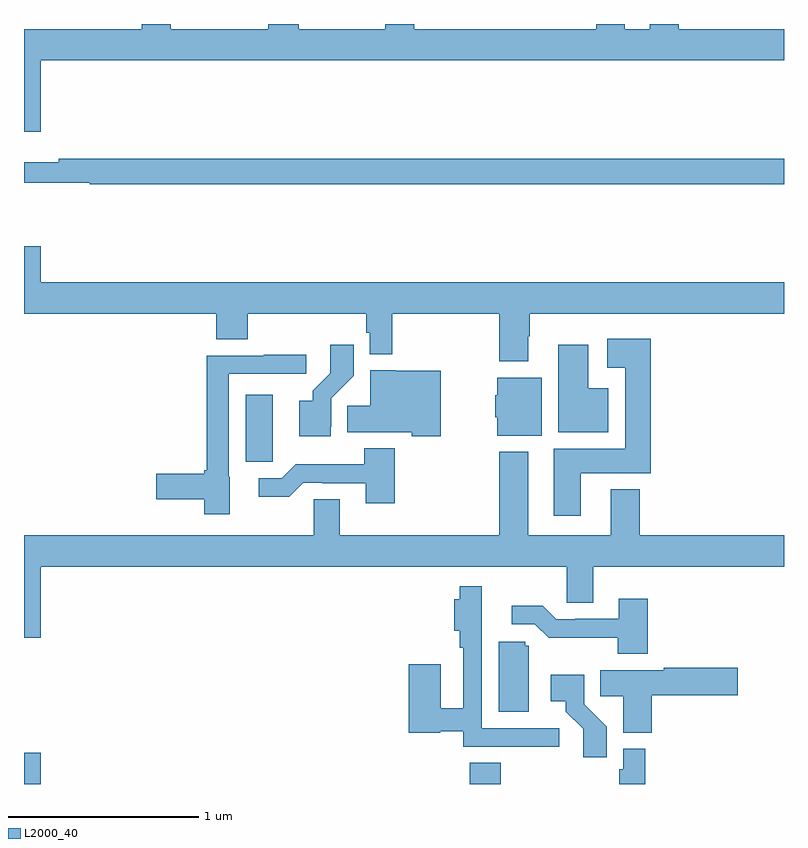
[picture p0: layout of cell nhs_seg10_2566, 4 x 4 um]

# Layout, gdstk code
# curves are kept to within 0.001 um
import gdstk
lib = gdstk.Library(unit=1e-6, precision=1e-09)
def R(c, l, rs):  # rectangles x0, y0, x1, y1
    for r in rs: c.add(gdstk.rectangle(r[:2], r[2:], *l))
def P(c, l, *ps):  # polygons
    for p in ps: c.add(gdstk.Polygon(p, *l))
L2000_40 = (2000, 40)

nhs_seg10_2566 = lib.new_cell('nhs_seg10_2566')
R(nhs_seg10_2566, L2000_40, [(249,1304.5,249.088,1304.665), (251.345,1304.5,251.51,1304.612)])
P(nhs_seg10_2566, L2000_40, [(249.088,1308.308),(253,1308.308),(253,1308.472),(252.446,1308.472),(252.446,1308.5),(252.293,1308.5),(252.293,1308.472),(252.163,1308.472),(252.163,1308.5),(252.011,1308.5),(252.011,1308.472),(251.055,1308.472),(251.055,1308.5),(250.9,1308.5),(250.9,1308.472),(250.446,1308.472),(250.446,1308.5),(250.286,1308.5),(250.286,1308.472),(249.773,1308.472),(249.773,1308.5),(249.621,1308.5),(249.621,1308.472),(249,1308.472),(249,1307.934),(249.088,1307.934)],
  [(253,1307.792),(249.184,1307.792),(249.184,1307.773),(249,1307.773),(249,1307.664),(249.345,1307.664),(249.345,1307.656),(253,1307.656)],
  [(249.088,1307.329),(249,1307.329),(249,1306.976),(250.013,1306.976),(250.013,1306.84),(250.178,1306.84),(250.178,1306.976),(250.801,1306.976),(250.801,1306.875),(250.821,1306.875),(250.821,1306.763),(250.937,1306.763),(250.937,1306.976),(251.501,1306.976),(251.501,1306.724),(251.653,1306.724),(251.653,1306.856),(251.661,1306.856),(251.661,1306.976),(253,1306.976),(253,1307.14),(249.088,1307.14)],
  [(251.929,1306.136),(252.299,1306.136),(252.299,1306.843),(252.069,1306.843),(252.069,1306.691),(252.164,1306.691),(252.164,1306.264),(251.789,1306.264),(251.789,1305.912),(251.929,1305.912)],
  [(250.615,1306.38),(250.617,1306.38),(250.617,1306.531),(250.736,1306.65),(250.736,1306.813),(250.611,1306.813),(250.611,1306.661),(250.52,1306.571),(250.52,1306.516),(250.448,1306.516),(250.448,1306.331),(250.615,1306.331)],
  [(252.076,1306.582),(251.971,1306.582),(251.971,1306.813),(251.813,1306.813),(251.813,1306.352),(252.076,1306.352)],
  [(250.084,1306.116),(250.077,1306.116),(250.077,1306.659),(250.486,1306.659),(250.486,1306.758),(250.261,1306.758),(250.261,1306.755),(249.961,1306.755),(249.961,1306.151),(249.948,1306.151),(249.948,1306.133),(249.696,1306.133),(249.696,1305.998),(249.948,1305.998),(249.948,1305.92),(250.084,1305.92)],
  [(251.194,1306.675),(250.956,1306.675),(250.956,1306.678),(250.823,1306.678),(250.823,1306.49),(250.702,1306.49),(250.702,1306.352),(251.04,1306.352),(251.04,1306.331),(251.194,1306.331)],
  [(251.725,1306.639),(251.492,1306.639),(251.492,1306.545),(251.48,1306.545),(251.48,1306.431),(251.492,1306.431),(251.492,1306.334),(251.725,1306.334)],
  [(250.308,1306.306),(250.309,1306.306),(250.309,1306.549),(250.166,1306.549),(250.166,1306.195),(250.308,1306.195)],
  [(250.952,1306.267),(250.792,1306.267),(250.792,1306.183),(250.429,1306.183),(250.356,1306.11),(250.236,1306.11),(250.236,1306.013),(250.397,1306.013),(250.47,1306.086),(250.57,1306.086),(250.57,1306.083),(250.799,1306.083),(250.799,1305.978),(250.952,1305.978)],
  [(249.088,1305.644),(251.856,1305.644),(251.856,1305.454),(251.995,1305.454),(251.995,1305.644),(253,1305.644),(253,1305.808),(252.242,1305.808),(252.242,1306.051),(252.089,1306.051),(252.089,1305.808),(251.653,1305.808),(251.653,1306.249),(251.501,1306.249),(251.501,1305.808),(250.663,1305.808),(250.663,1305.998),(250.524,1305.998),(250.524,1305.808),(249,1305.808),(249,1305.27),(249.088,1305.27)],
  [(251.818,1304.793),(251.409,1304.793),(251.409,1305.318),(251.41,1305.318),(251.41,1305.541),(251.293,1305.541),(251.293,1305.472),(251.264,1305.472),(251.264,1305.307),(251.293,1305.307),(251.293,1305.218),(251.313,1305.218),(251.313,1304.899),(251.194,1304.899),(251.194,1305.13),(251.024,1305.13),(251.024,1304.77),(251.19,1304.77),(251.19,1304.778),(251.313,1304.778),(251.313,1304.697),(251.593,1304.697),(251.593,1304.695),(251.818,1304.695)],
  [(252.284,1305.475),(252.131,1305.475),(252.131,1305.369),(251.902,1305.369),(251.902,1305.366),(251.802,1305.366),(251.729,1305.439),(251.568,1305.439),(251.568,1305.342),(251.688,1305.342),(251.761,1305.269),(252.124,1305.27),(252.124,1305.185),(252.284,1305.185)],
  [(251.656,1305.228),(251.637,1305.228),(251.637,1305.249),(251.498,1305.249),(251.498,1304.88),(251.656,1304.88)],
  [(252.305,1304.966),(252.757,1304.966),(252.757,1305.113),(252.367,1305.113),(252.367,1305.1),(252.034,1305.1),(252.034,1304.962),(252.155,1304.962),(252.155,1304.771),(252.305,1304.771)],
  [(252.068,1304.802),(251.949,1304.921),(251.949,1305.076),(251.772,1305.076),(251.772,1304.936),(251.852,1304.936),(251.852,1304.881),(251.943,1304.791),(251.943,1304.64),(252.068,1304.64)],
  [(252.269,1304.686),(252.153,1304.686),(252.153,1304.577),(252.133,1304.577),(252.133,1304.5),(252.269,1304.5)])

lib.write_gds('nhs_seg10_2566.gds')
